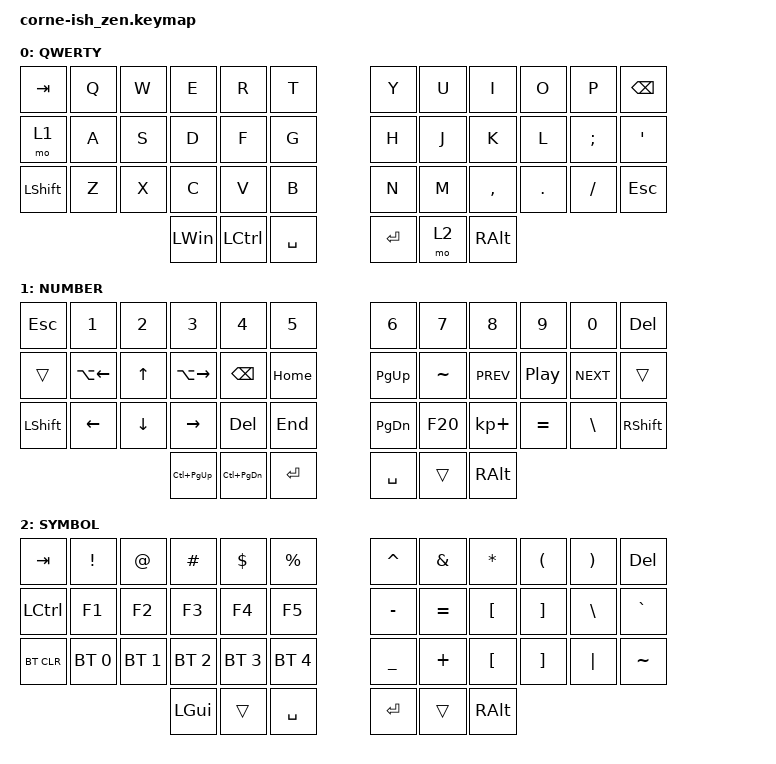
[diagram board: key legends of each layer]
/*
*
* Copyright (c) 2021 Darryl deHaan
* SPDX-License-Identifier: MIT
*
*/

#include <behaviors.dtsi>
#include <dt-bindings/zmk/keys.h>
#include <dt-bindings/zmk/bt.h>

#define PTAB LC(PG_UP)
#define NTAB LC(PG_DN)
#define NWIN LA(TAB)
#define PWIN LS(LA(TAB))
#define XSLV LA(LC(V))
#define PDESK LC(LG(RIGHT))
#define NDESK LC(LG(LEFT))
#define LR_DOWN LA(DOWN)
#define LR_UP LA(UP)


/ {
        keymap {
                compatible = "zmk,keymap";

                default_layer {
                        label = "QWERTY";
// -----------------------------------------------------------------------------------------
// |  TAB |  Q  |  W  |  E  |  R  |  T  |   |  Y  |  U   |  I  |  O  |  P  | BKSP |
// | MO1  |  A  |  S  |  D  |  F  |  G  |   |  H  |  J   |  K  |  L  |  ;  |  '   |
// | SHFT |  Z  |  X  |  C  |  V  |  B  |   |  N  |  M   |  ,  |  .  |  /  | ESC  |
//                    | GUI | CTL | SPC |   | ENT | MO2  | ALT |
                        bindings = <
   &kp TAB   &kp Q &kp W &kp E &kp R &kp T   &kp Y &kp U &kp I &kp O &kp P    &kp BSPC
   &mo 1     &kp A &kp S &kp D &kp F &kp G   &kp H &kp J &kp K &kp L &kp SEMI &kp SQT
   &kp LSHFT &kp Z &kp X &kp C &kp V &kp B   &kp N &kp M &kp COMMA &kp DOT &kp SLASH &kp ESC
              &kp LWIN &kp LCTRL &kp SPACE   &kp RET &mo 2 &kp RALT
                        >;
                };
                lower_layer {
                        label = "NUMBER";
// -----------------------------------------------------------------------------------------
// |  TAB |  1  |  2  |  3  |  4  |  5  |   |  6  |  7  |  8  |  9  |  0  | BKSP |
// | LWR  |ALT< | UP  |ALT> |BSPAC| HOME|   |PGUP |  '  | prev| play| next|  ´   |
// | SHFT | LFT | DWN | RGT | DEL |  END|   |PGDW | NOT |   + |   = |  \  | SHFT |
//                    |CTLTB|CTLTB| RET |   | SPC |trans| ALT |
                        bindings = <
   &kp ESC    &kp N1       &kp N2       &kp N3       &kp N4       &kp N5         &kp N6   &kp N7   &kp N8 &kp N9 &kp N0 &kp DELETE
   &trans     &kp LA(LEFT) &kp UP       &kp LA(RIGHT) &kp BSPC    &kp HOME       &kp PAGE_UP &kp TILDE &kp C_PREV &kp C_PP &kp C_NEXT &trans 
   &kp LSHFT  &kp LEFT     &kp DOWN     &kp RIGHT    &kp DELETE   &kp END        &kp PAGE_DOWN &kp F20 &kp KP_PLUS &kp EQUAL &kp BSLH &kp RSHFT 
                      &kp PTAB &kp NTAB &kp RET         &kp SPACE &trans &kp RIGHT_ALT
                        >;
                };

                raise_layer {
                        label = "SYMBOL";
// -----------------------------------------------------------------------------------------
// |  TAB |  !  |  @  |  #  |  $  |  %  |   |  ^  |  &  |  *  |  (  |  )  | BKSP |
// | CTRL | F1  | F2  |  F3 | F4  | F5  |   |  -  |  =  |  [  |  ]  |  \  |  `   |
// |BTCLR | BT0 | BT1 | BT2 | BT3 | BT4 |   |  _  |  +  |  {  |  }  | "|" |  ~   |
//                    | GUI |     | SPC |   | ENT |     | ALT |
                        bindings = <
   &kp TAB &kp EXCL &kp AT &kp HASH &kp DLLR &kp PRCNT                           &kp CARET &kp AMPS &kp ASTRK &kp LPAR &kp RPAR &kp DELETE
   &kp LCTRL &kp F1 &kp F2 &kp F3 &kp F4 &kp F5                                  &kp MINUS &kp EQUAL &kp LEFT_BRACKET &kp RIGHT_BRACKET &kp BSLH &kp GRAVE
   &bt BT_CLR &bt BT_SEL 0 &bt BT_SEL 1 &bt BT_SEL 2 &bt BT_SEL 3 &bt BT_SEL 4   &kp UNDER &kp PLUS &kp LBKT &kp RBKT &kp PIPE &kp TILDE
                             &kp LGUI &trans &kp SPACE                           &kp RET &trans &kp RALT
                        >;
                };
        };
};
